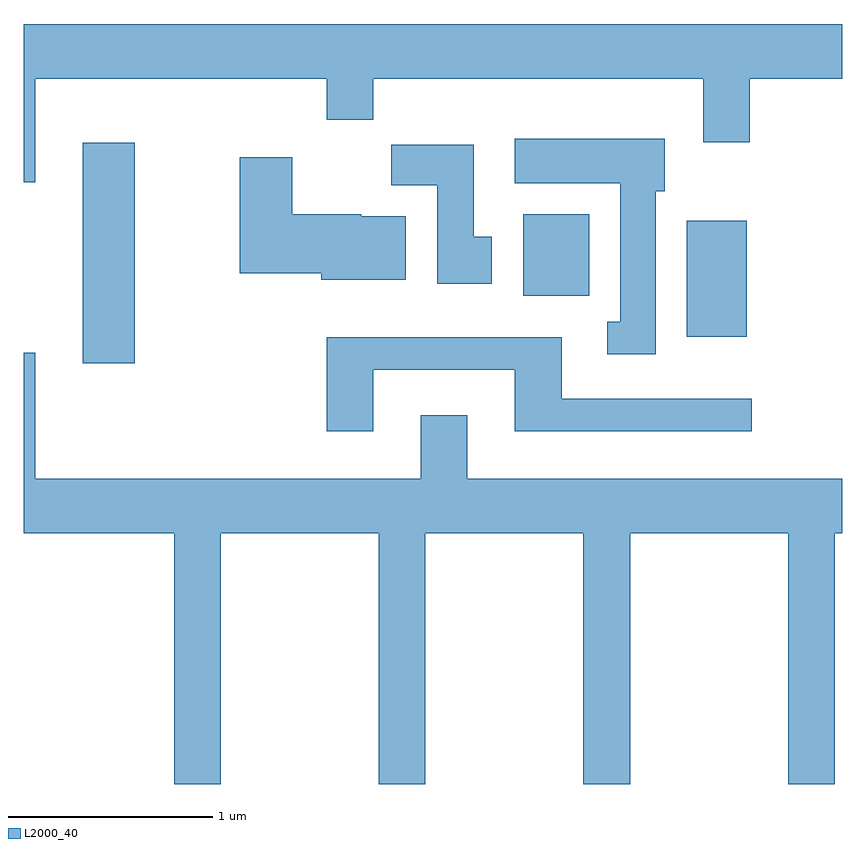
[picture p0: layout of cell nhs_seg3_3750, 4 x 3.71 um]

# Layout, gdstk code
import gdstk
lib = gdstk.Library(unit=1e-6, precision=1e-09)
def R(c, l, rs):  # rectangles x0, y0, x1, y1
    for r in rs: c.add(gdstk.rectangle(r[:2], r[2:], *l))
def P(c, l, *ps):  # polygons
    for p in ps: c.add(gdstk.Polygon(p, *l))
L2000_40 = (2000, 40)

nhs_seg3_3750 = lib.new_cell('nhs_seg3_3750')
R(nhs_seg3_3750, L2000_40, [(295.901,1137.946,296.154,1139.024), (298.851,1138.076,299.144,1138.644), (298.051,1138.276,298.374,1138.674)])
P(nhs_seg3_3750, L2000_40, [(295.669,1139.336),(297.091,1139.336),(297.091,1139.136),(297.319,1139.136),(297.319,1139.336),(298.931,1139.336),(298.931,1139.026),(299.159,1139.026),(299.159,1139.336),(299.611,1139.336),(299.611,1139.604),(295.611,1139.604),(295.611,1138.831),(295.669,1138.831)],
  [(298.699,1138.786),(298.744,1138.786),(298.744,1139.044),(298.011,1139.044),(298.011,1138.826),(298.526,1138.826),(298.526,1138.149),(298.463,1138.149),(298.463,1137.991),(298.699,1137.991)],
  [(297.899,1138.564),(297.809,1138.564),(297.809,1139.014),(297.406,1139.014),(297.406,1138.816),(297.631,1138.816),(297.631,1138.336),(297.899,1138.336)],
  [(297.479,1138.664),(297.26,1138.664),(297.26,1138.674),(296.924,1138.674),(296.924,1138.954),(296.666,1138.954),(296.666,1138.386),(297.066,1138.386),(297.066,1138.356),(297.479,1138.356)],
  [(297.319,1137.916),(298.011,1137.916),(298.011,1137.616),(299.168,1137.616),(299.168,1137.774),(298.239,1137.774),(298.239,1138.074),(297.091,1138.074),(297.091,1137.616),(297.319,1137.616)],
  [(296.574,1137.116),(297.346,1137.116),(297.346,1135.892),(297.574,1135.892),(297.574,1137.116),(298.346,1137.116),(298.346,1135.892),(298.574,1135.892),(298.574,1137.116),(299.346,1137.116),(299.346,1135.892),(299.574,1135.892),(299.574,1137.116),(299.611,1137.116),(299.611,1137.384),(297.779,1137.384),(297.779,1137.694),(297.551,1137.694),(297.551,1137.384),(295.669,1137.384),(295.669,1137.999),(295.611,1137.999),(295.611,1137.116),(296.346,1137.116),(296.346,1135.892),(296.574,1135.892)])

lib.write_gds('nhs_seg3_3750.gds')
